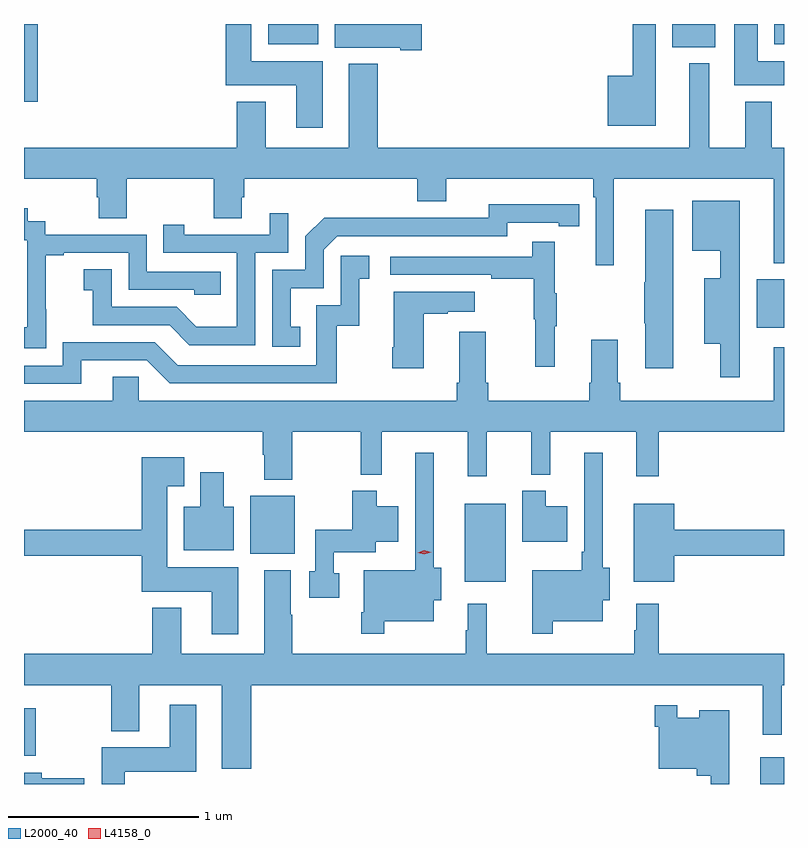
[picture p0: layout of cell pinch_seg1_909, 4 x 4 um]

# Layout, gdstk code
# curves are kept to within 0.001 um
import gdstk
lib = gdstk.Library(unit=1e-6, precision=1e-09)
def R(c, l, rs):  # rectangles x0, y0, x1, y1
    for r in rs: c.add(gdstk.rectangle(r[:2], r[2:], *l))
def P(c, l, *ps):  # polygons
    for p in ps: c.add(gdstk.Polygon(p, *l))
L2000_40 = (2000, 40)
L4158_0 = (4158, 0)

pinch_seg1_909 = lib.new_cell('pinch_seg1_909')
R(pinch_seg1_909, L2000_40, [(243.863,529.899,243.989,530.041), (239.989,530.049,240.052,530.299), (242.309,530.963,242.524,531.373), (241.181,531.11,241.414,531.415), (243.845,532.301,243.989,532.555), (239.989,533.49,240.062,533.899), (243.401,533.777,243.628,533.899), (241.274,533.792,241.537,533.899), (243.938,533.792,243.989,533.899)])
P(pinch_seg1_909, L2000_40, [(241.561,533.704),(241.186,533.704),(241.186,533.899),(241.052,533.899),(241.052,533.576),(241.421,533.576),(241.421,533.352),(241.561,533.352)],
  [(243.313,533.899),(243.192,533.899),(243.192,533.626),(243.062,533.626),(243.062,533.363),(243.313,533.363)],
  [(243.989,533.704),(243.85,533.704),(243.85,533.899),(243.728,533.899),(243.728,533.576),(243.989,533.576)],
  [(242.083,533.899),(241.625,533.899),(241.625,533.774),(241.97,533.774),(241.97,533.762),(242.083,533.762)],
  [(241.85,533.689),(241.697,533.689),(241.697,533.248),(241.261,533.248),(241.261,533.491),(241.109,533.491),(241.109,533.248),(239.989,533.248),(239.989,533.084),(240.371,533.084),(240.371,532.986),(240.383,532.986),(240.383,532.876),(240.531,532.876),(240.531,533.084),(240.988,533.084),(240.988,532.876),(241.135,532.876),(241.135,532.986),(241.148,532.986),(241.148,533.084),(242.06,533.084),(242.06,532.967),(242.212,532.967),(242.212,533.084),(242.984,533.084),(242.984,532.988),(242.997,532.988),(242.997,532.629),(243.094,532.629),(243.094,533.084),(243.935,533.084),(243.935,532.64),(243.989,532.64),(243.989,533.248),(243.925,533.248),(243.925,533.491),(243.785,533.491),(243.785,533.248),(243.595,533.248),(243.595,533.692),(243.491,533.692),(243.491,533.248),(241.85,533.248)],
  [(243.757,532.969),(243.506,532.969),(243.506,532.706),(243.653,532.706),(243.653,532.561),(243.569,532.561),(243.569,532.217),(243.653,532.217),(243.653,532.041),(243.757,532.041)],
  [(241.442,532.305),(241.393,532.305),(241.393,532.509),(241.566,532.509),(241.566,532.71),(241.638,532.782),(242.532,532.782),(242.532,532.854),(242.804,532.854),(242.804,532.834),(242.912,532.834),(242.912,532.95),(242.436,532.951),(242.436,532.878),(241.976,532.878),(241.976,532.88),(241.568,532.88),(241.47,532.782),(241.47,532.605),(241.296,532.605),(241.296,532.2),(241.442,532.2)],
  [(240.105,532.399),(240.104,532.399),(240.104,532.683),(240.199,532.683),(240.199,532.695),(240.54,532.695),(240.54,532.5),(240.885,532.5),(240.885,532.473),(241.025,532.473),(241.025,532.596),(240.636,532.596),(240.636,532.791),(240.102,532.791),(240.102,532.86),(240.01,532.86),(240.01,532.93),(239.989,532.93),(239.989,532.761),(240.006,532.761),(240.006,532.532),(240.005,532.532),(240.005,532.303),(239.989,532.303),(239.989,532.193),(240.105,532.193)],
  [(243.406,532.921),(243.26,532.921),(243.26,532.541),(243.253,532.541),(243.253,532.324),(243.26,532.324),(243.26,532.086),(243.406,532.086)],
  [(241.206,532.695),(241.38,532.695),(241.38,532.903),(241.283,532.903),(241.283,532.791),(240.832,532.791),(240.832,532.843),(240.721,532.843),(240.721,532.695),(241.11,532.695),(241.11,532.306),(240.896,532.306),(240.792,532.41),(240.45,532.41),(240.45,532.609),(240.303,532.609),(240.303,532.499),(240.352,532.499),(240.352,532.314),(240.755,532.314),(240.86,532.209),(241.206,532.209)],
  [(242.783,532.307),(242.794,532.307),(242.794,532.481),(242.783,532.481),(242.783,532.753),(242.665,532.753),(242.665,532.674),(241.917,532.674),(241.917,532.578),(242.449,532.578),(242.449,532.558),(242.673,532.558),(242.673,532.344),(242.68,532.344),(242.68,532.095),(242.783,532.095)],
  [(240.289,532.128),(240.636,532.128),(240.756,532.008),(241.636,532.008),(241.636,532.311),(241.754,532.311),(241.754,532.557),(241.807,532.557),(241.807,532.678),(241.656,532.678),(241.656,532.419),(241.527,532.419),(241.527,532.104),(240.798,532.104),(240.678,532.224),(240.192,532.224),(240.192,532.101),(239.989,532.101),(239.989,532.005),(240.289,532.005)],
  [(242.092,532.375),(242.219,532.375),(242.219,532.385),(242.362,532.385),(242.362,532.489),(241.934,532.489),(241.934,532.198),(241.927,532.198),(241.927,532.086),(242.092,532.086)],
  [(243.212,531.519),(243.329,531.519),(243.329,531.752),(243.989,531.752),(243.989,532.198),(243.935,532.198),(243.935,531.916),(243.128,531.916),(243.128,532.012),(243.115,532.012),(243.115,532.237),(242.975,532.237),(242.975,532.012),(242.963,532.012),(242.963,531.916),(242.432,531.916),(242.432,532.012),(242.419,532.012),(242.419,532.279),(242.279,532.279),(242.279,532.012),(242.267,532.012),(242.267,531.916),(240.594,531.916),(240.594,532.043),(240.455,532.043),(240.455,531.916),(239.989,531.916),(239.989,531.752),(241.246,531.752),(241.246,531.632),(241.253,531.632),(241.253,531.5),(241.401,531.5),(241.401,531.752),(241.761,531.752),(241.761,531.527),(241.871,531.527),(241.871,531.752),(242.324,531.752),(242.324,531.519),(242.424,531.519),(242.424,531.752),(242.659,531.752),(242.659,531.527),(242.759,531.527),(242.759,531.752),(243.212,531.752)],
  [(241.885,530.756),(242.146,530.756),(242.146,530.867),(242.185,530.867),(242.185,531.038),(242.146,531.038),(242.146,531.643),(242.049,531.643),(242.049,531.025),(241.776,531.025),(241.776,530.803),(241.764,530.803),(241.764,530.691),(241.885,530.691)],
  [(242.773,530.756),(243.034,530.756),(243.034,530.867),(243.073,530.867),(243.073,531.038),(243.034,531.038),(243.034,531.643),(242.937,531.643),(242.937,531.121),(242.925,531.121),(242.925,531.025),(242.664,531.025),(242.664,530.691),(242.773,530.691)],
  [(241.117,531.04),(240.742,531.04),(240.742,531.467),(240.832,531.467),(240.832,531.619),(240.608,531.619),(240.608,531.236),(239.989,531.236),(239.989,531.1),(240.608,531.1),(240.608,530.912),(240.977,530.912),(240.977,530.688),(241.117,530.688)],
  [(241.093,531.358),(241.039,531.358),(241.039,531.541),(240.917,531.541),(240.917,531.358),(240.83,531.358),(240.83,531.128),(241.093,531.128)],
  [(241.648,531.007),(241.618,531.007),(241.618,531.12),(241.84,531.12),(241.84,531.173),(241.96,531.173),(241.96,531.361),(241.846,531.361),(241.846,531.442),(241.717,531.442),(241.717,531.236),(241.521,531.236),(241.521,531.02),(241.49,531.02),(241.49,530.878),(241.648,530.878)],
  [(242.848,531.361),(242.734,531.361),(242.734,531.442),(242.612,531.442),(242.612,531.173),(242.848,531.173)],
  [(243.412,531.1),(243.989,531.1),(243.989,531.236),(243.412,531.236),(243.412,531.373),(243.197,531.373),(243.197,530.963),(243.412,530.963)],
  [(241.184,530.42),(243.878,530.42),(243.878,530.157),(243.978,530.157),(243.978,530.42),(243.989,530.42),(243.989,530.584),(243.329,530.584),(243.329,530.848),(243.212,530.848),(243.212,530.708),(243.201,530.708),(243.201,530.584),(242.424,530.584),(242.424,530.848),(242.324,530.848),(242.324,530.708),(242.313,530.708),(242.313,530.584),(241.401,530.584),(241.401,530.789),(241.393,530.789),(241.393,531.025),(241.253,531.025),(241.253,530.584),(240.817,530.584),(240.817,530.827),(240.665,530.827),(240.665,530.584),(239.989,530.584),(239.989,530.42),(240.448,530.42),(240.448,530.177),(240.595,530.177),(240.595,530.42),(241.031,530.42),(241.031,529.979),(241.184,529.979)],
  [(240.52,529.964),(240.895,529.964),(240.895,530.317),(240.755,530.317),(240.755,530.092),(240.398,530.092),(240.398,529.899),(240.52,529.899)],
  [(243.7,530.287),(243.542,530.287),(243.542,530.248),(243.426,530.248),(243.426,530.314),(243.31,530.314),(243.31,530.201),(243.33,530.201),(243.33,529.979),(243.53,529.979),(243.53,529.943),(243.603,529.943),(243.603,529.899),(243.7,529.899)],
  [(240.307,529.928),(240.082,529.928),(240.082,529.957),(239.989,529.957),(239.989,529.899),(240.307,529.899)])
P(pinch_seg1_909, L4158_0, [(242.096,531.108),(242.061,531.116),(242.06,531.117),(242.061,531.117),(242.096,531.128),(242.132,531.12),(242.132,531.119),(242.132,531.119)])

lib.write_gds('pinch_seg1_909.gds')
